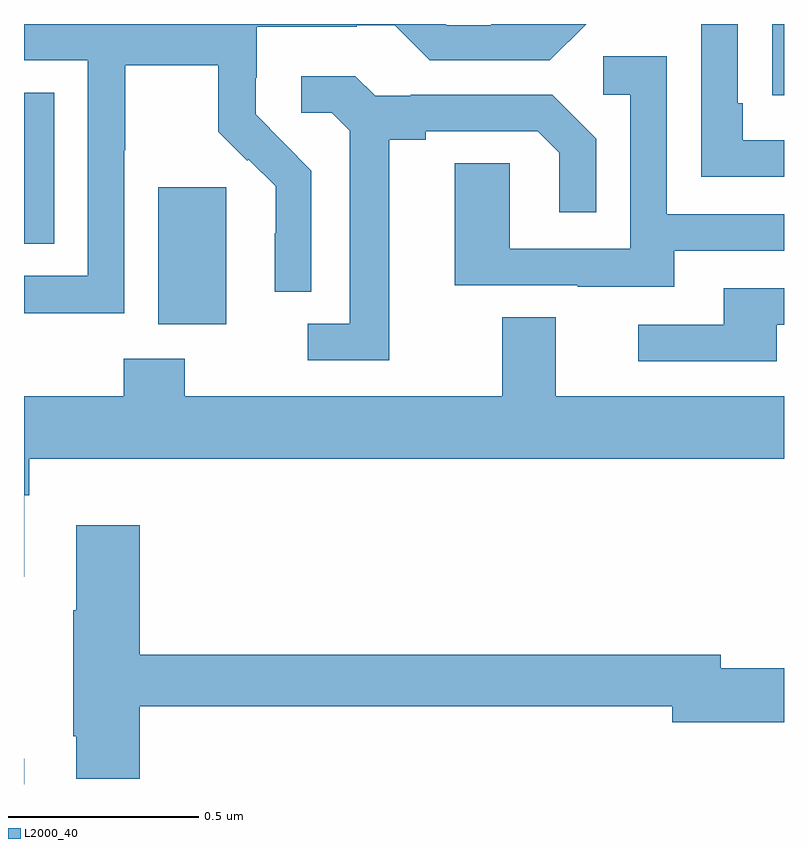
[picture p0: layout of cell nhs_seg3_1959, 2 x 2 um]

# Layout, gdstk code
import gdstk
lib = gdstk.Library(unit=1e-6, precision=1e-09)
def R(c, l, rs):  # rectangles x0, y0, x1, y1
    for r in rs: c.add(gdstk.rectangle(r[:2], r[2:], *l))
def P(c, l, *ps):  # polygons
    for p in ps: c.add(gdstk.Polygon(p, *l))
L2000_40 = (2000, 40)

nhs_seg3_1959 = lib.new_cell('nhs_seg3_1959')
R(nhs_seg3_1959, L2000_40, [(135,693.4,135.001,693.466), (135.353,694.61,135.532,694.971), (135,694.822,135.079,695.219), (136.969,695.212,137,695.4)])
P(nhs_seg3_1959, L2000_40, [(135.264,695.068),(135.267,695.068),(135.267,695.292),(135.511,695.292),(135.511,695.117),(135.588,695.04),(135.591,695.043),(135.662,694.973),(135.662,694.85),(135.66,694.85),(135.66,694.696),(135.756,694.696),(135.756,695.014),(135.683,695.087),(135.684,695.088),(135.61,695.162),(135.61,695.259),(135.612,695.259),(135.612,695.393),(135.875,695.393),(135.875,695.397),(135.975,695.397),(136.068,695.304),(136.383,695.304),(136.479,695.4),(136.229,695.4),(136.229,695.397),(136.113,695.397),(136.11,695.4),(135,695.4),(135,695.304),(135.168,695.304),(135.168,694.737),(135,694.737),(135,694.639),(135.264,694.639)],
  [(137,695.094),(136.891,695.094),(136.891,695.191),(136.878,695.191),(136.878,695.4),(136.782,695.4),(136.782,694.998),(137,694.998)],
  [(136.711,694.803),(137,694.803),(137,694.899),(136.692,694.899),(136.692,695.315),(136.524,695.315),(136.524,695.214),(136.596,695.214),(136.596,694.809),(136.278,694.809),(136.278,695.033),(136.133,695.033),(136.133,694.713),(136.457,694.713),(136.457,694.709),(136.711,694.709)],
  [(135.961,695.096),(136.057,695.096),(136.057,695.118),(136.352,695.118),(136.409,695.061),(136.409,694.905),(136.506,694.905),(136.506,695.098),(136.39,695.214),(136.018,695.214),(136.018,695.211),(135.924,695.211),(135.872,695.263),(135.729,695.263),(135.729,695.166),(135.81,695.166),(135.857,695.119),(135.857,694.611),(135.747,694.611),(135.747,694.515),(135.961,694.515)],
  [(136.981,694.608),(137,694.608),(137,694.704),(136.841,694.704),(136.841,694.608),(136.617,694.608),(136.617,694.512),(136.981,694.512)],
  [(135.001,694.16),(135.014,694.16),(135.014,694.256),(137,694.256),(137,694.42),(136.399,694.42),(136.399,694.628),(136.259,694.628),(136.259,694.42),(135.423,694.42),(135.423,694.519),(135.263,694.519),(135.263,694.42),(135,694.42),(135,693.945),(135.001,693.945)],
  [(135.305,693.604),(136.706,693.604),(136.706,693.562),(137,693.562),(137,693.704),(136.834,693.704),(136.834,693.74),(135.305,693.74),(135.305,694.081),(135.137,694.081),(135.137,693.857),(135.13,693.857),(135.13,693.526),(135.137,693.526),(135.137,693.414),(135.305,693.414)])

lib.write_gds('nhs_seg3_1959.gds')
